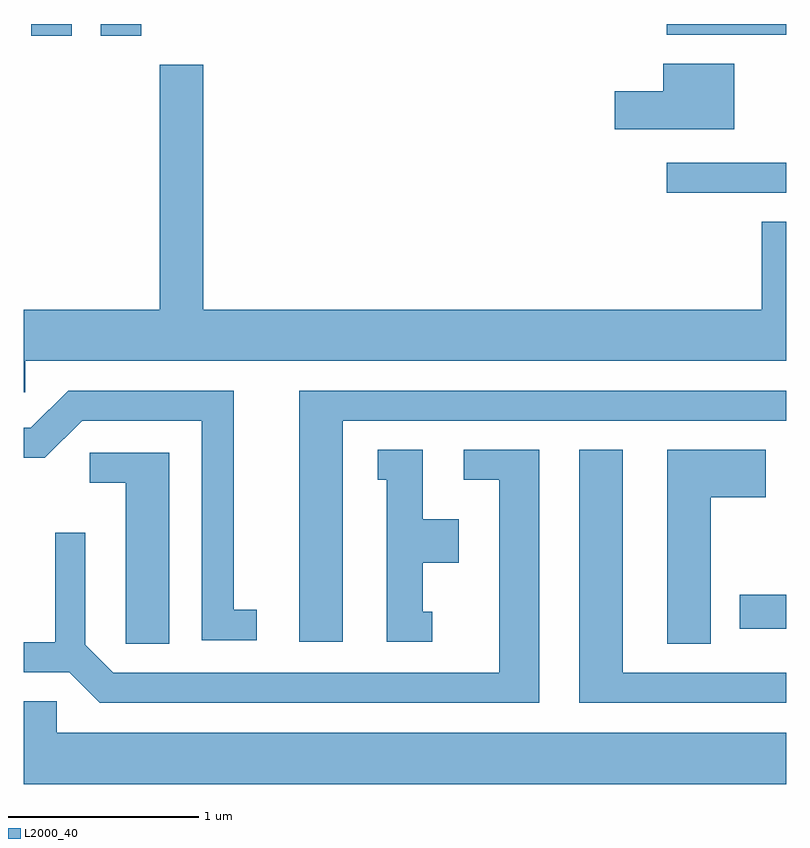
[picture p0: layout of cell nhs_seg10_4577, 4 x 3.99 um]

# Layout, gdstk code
import gdstk
lib = gdstk.Library(unit=1e-6, precision=1e-09)
def R(c, l, rs):  # rectangles x0, y0, x1, y1
    for r in rs: c.add(gdstk.rectangle(r[:2], r[2:], *l))
def P(c, l, *ps):  # polygons
    for p in ps: c.add(gdstk.Polygon(p, *l))
L2000_40 = (2000, 40)

nhs_seg10_4577 = lib.new_cell('nhs_seg10_4577')
R(nhs_seg10_4577, L2000_40, [(323.366,2161.351,323.611,2161.529), (322.983,2163.636,323.611,2163.794), (319.651,2164.461,319.864,2164.522), (320.016,2164.461,320.229,2164.522), (322.983,2164.466,323.611,2164.522)])
P(nhs_seg10_4577, L2000_40, [(323.339,2164.314),(322.966,2164.314),(322.966,2164.169),(322.711,2164.169),(322.711,2163.971),(323.339,2163.971)],
  [(319.619,2162.756),(323.611,2162.756),(323.611,2163.484),(323.481,2163.484),(323.481,2163.024),(320.554,2163.024),(320.554,2164.309),(320.326,2164.309),(320.326,2163.024),(319.611,2163.024),(319.611,2162.591),(319.619,2162.591)],
  [(320.833,2161.449),(320.714,2161.449),(320.714,2162.599),(319.844,2162.599),(319.649,2162.404),(319.611,2162.404),(319.611,2162.246),(319.722,2162.246),(319.917,2162.441),(320.546,2162.441),(320.546,2161.291),(320.833,2161.291)],
  [(321.284,2162.441),(323.611,2162.441),(323.611,2162.599),(321.056,2162.599),(321.056,2161.281),(321.284,2161.281)],
  [(323.214,2162.041),(323.504,2162.041),(323.504,2162.289),(322.986,2162.289),(322.986,2161.271),(323.214,2161.271)],
  [(323.611,2161.119),(322.754,2161.119),(322.754,2162.289),(322.526,2162.289),(322.526,2160.961),(323.611,2160.961)],
  [(321.753,2161.439),(321.704,2161.439),(321.704,2161.696),(321.894,2161.696),(321.894,2161.924),(321.704,2161.924),(321.704,2162.289),(321.468,2162.289),(321.468,2162.131),(321.516,2162.131),(321.516,2161.281),(321.753,2161.281)],
  [(322.314,2162.289),(321.918,2162.289),(321.918,2162.131),(322.106,2162.131),(322.106,2161.119),(320.082,2161.119),(319.934,2161.267),(319.934,2161.853),(319.776,2161.853),(319.776,2161.279),(319.611,2161.279),(319.611,2161.121),(319.849,2161.121),(320.009,2160.961),(322.314,2160.961)],
  [(320.374,2162.274),(319.958,2162.274),(319.958,2162.116),(320.146,2162.116),(320.146,2161.271),(320.374,2161.271)],
  [(323.611,2160.804),(319.784,2160.804),(319.784,2160.969),(319.611,2160.969),(319.611,2160.536),(323.611,2160.536)])

lib.write_gds('nhs_seg10_4577.gds')
